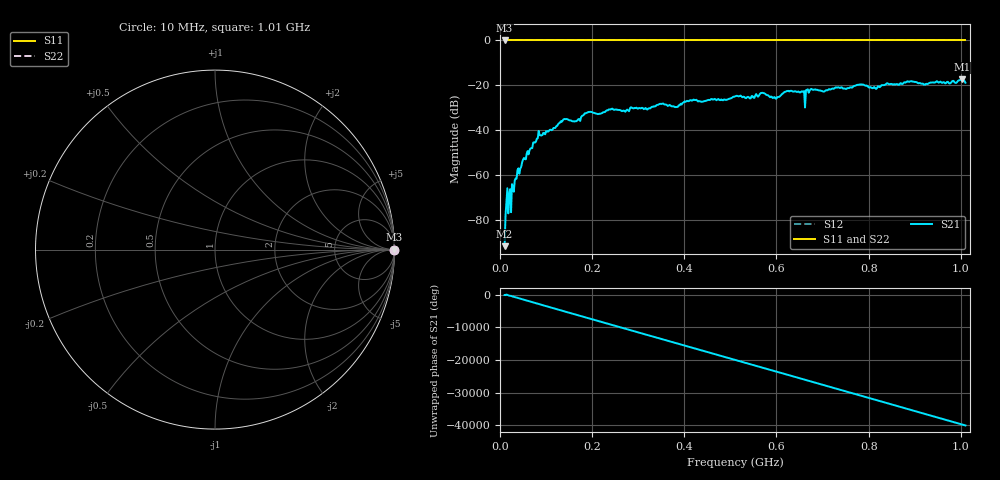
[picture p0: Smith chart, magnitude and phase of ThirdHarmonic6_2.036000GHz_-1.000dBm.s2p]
! 8/17/2025 12:25:36 AM
! C:\ANRITSUVNA\TEMP\TEMP.S2P
! CHANNEL.1
! TR.MEASUREMENT
! RAW.DATA
! RF.CORRECTION.OFF
! AVERAGING.OFF
! IF.BANDWIDTH: 5KHZ
! SWEEPTYPE:  FREQ.SWEEP(Linear)
! Reference Plane Port Info
! PORT:  PORT1  PORT2
! DISTANCE:  0  m  0  m
! TIME:  0  s  0  s
! PHASE.OFFSET:  0  deg.  0  deg.
! LOSS:  0  dB  0  dB
! REF.LOSS:  0  dB  0  dB
! REF.FREQ:  0  Hz  0  Hz
! Power Info
! POWER:  -20  dBm  -20  dBm
! EFF.POWER:  -20  dBm  -20  dBm
! SOURCE.ATTEN:  0  dB  0  dB
! TEST.ATTEN:  0  dB  0  dB
# GHZ S RI R 50.0
! FREQ.GHZ  S11RE  S11IM  S21RE  S21IM  S12RE  S12IM  S22RE  S22IM
!; PortSelection: Port_12
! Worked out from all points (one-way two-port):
!   501 points, 10 MHz to 1.01 GHz, reference 50 ohm
!   highest |S21| = -17.30 dB at 1.002 GHz (marker M1); lowest = -91.5 dB at 10 MHz (marker M2)
!   lowest |S11| = 0.0 dB at 10 MHz (marker M3)
!   |S11| at or under -10 dB: nowhere
!   |S22| runs from 0.0 to 0.0 dB; largest |S21 - S12| = 1.1
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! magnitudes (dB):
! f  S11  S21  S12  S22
! 10 MHz  0.0  -91.5  0.0  0.0
! 18 MHz  0.0  -76.9  0.0  0.0
! 22 MHz  0.0  -66.1  0.0  0.0
! 36 MHz  0.0  -61.4  0.0  0.0
! 84 MHz  0.0  -40.2  0.0  0.0
! 140 MHz  0.0  -34.9  0.0  0.0
! 162 MHz  0.0  -36.0  0.0  0.0
! 178 MHz  0.0  -33.5  0.0  0.0
! 194 MHz  0.0  -31.8  0.0  0.0
! 344 MHz  0.0  -28.5  0.0  0.0
! 382 MHz  0.0  -29.6  0.0  0.0
! 416 MHz  0.0  -26.8  0.0  0.0
! 510 MHz  0.0  -24.9  0.0  0.0
! 570 MHz  0.0  -23.3  0.0  0.0
! 596 MHz  0.0  -25.2  0.0  0.0
! 622 MHz  0.0  -22.5  0.0  0.0
! 658 MHz  0.0  -22.9  0.0  0.0
! 678 MHz  0.0  -21.9  0.0  0.0
! 814 MHz  0.0  -21.1  0.0  0.0
! 844 MHz  0.0  -19.4  0.0  0.0
! 1.002 GHz  0.0  -17.3  0.0  0.0
! 1.01 GHz  0.0  -18.8  0.0  0.0
